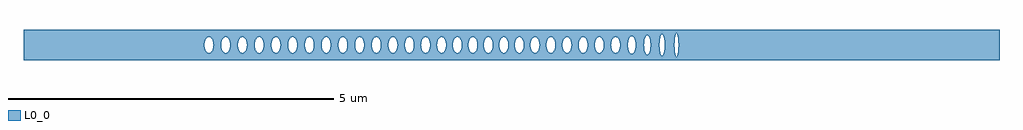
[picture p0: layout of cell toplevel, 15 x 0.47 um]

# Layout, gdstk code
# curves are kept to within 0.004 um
import gdstk
lib = gdstk.Library(unit=1e-6, precision=1e-09)
def P(c, l, *ps):  # polygons
    for p in ps: c.add(gdstk.Polygon(p, *l))
L0_0 = (0, 0)

toplevel = lib.new_cell('toplevel')
P(toplevel, L0_0, [(-4.205,0.016),(-4.187,0.085),(-4.187,0.235),(-7.5,0.235),(-7.5,-0.016),(-4.72,-0.016),(-4.717,0.038),(-4.707,0.073),(-4.684,0.109),(-4.654,0.124),(-4.628,0.118),(-4.599,0.085),(-4.584,0.046),(-4.58,-0.016),(-4.463,-0.016),(-4.46,0.038),(-4.45,0.073),(-4.427,0.109),(-4.397,0.124),(-4.371,0.118),(-4.344,0.09),(-4.327,0.046),(-4.322,0.008),(-4.324,-0.031),(-4.338,-0.079),(-4.359,-0.109),(-4.388,-0.124),(-4.414,-0.118),(-4.438,-0.096),(-4.45,-0.073),(-4.463,-0.016),(-4.58,-0.016),(-4.588,-0.06),(-4.605,-0.096),(-4.628,-0.118),(-4.645,-0.124),(-4.672,-0.118),(-4.695,-0.096),(-4.712,-0.06),(-4.72,-0.016),(-7.5,-0.016),(-7.5,-0.235),(-4.187,-0.235),(-4.187,-0.085),(-4.204,-0.031)],
  [(-4.18,0.096),(-4.157,0.118),(-4.14,0.124),(-4.122,0.122),(-4.101,0.109),(-4.074,0.06),(-4.065,-0.016),(-3.948,-0.016),(-3.942,0.053),(-3.923,0.096),(-3.9,0.118),(-3.865,0.122),(-3.84,0.105),(-3.821,0.073),(-3.807,0),(-3.812,-0.046),(-3.827,-0.085),(-3.844,-0.109),(-3.869,-0.123),(-3.9,-0.118),(-3.923,-0.096),(-3.94,-0.06),(-3.948,-0.016),(-4.065,-0.016),(-4.084,-0.085),(-4.101,-0.109),(-4.122,-0.122),(-4.14,-0.124),(-4.157,-0.118),(-4.187,-0.085),(-4.187,-0.235),(-3.599,-0.235),(-3.599,-0.118),(-3.625,-0.124),(-3.655,-0.109),(-3.678,-0.073),(-3.691,-0.016),(-3.688,0.038),(-3.666,0.096),(-3.634,0.122),(-3.616,0.124),(-3.599,0.118),(-3.599,0.235),(-4.187,0.235),(-4.187,0.085)],
  [(-3.551,-0.023),(-3.569,-0.085),(-3.599,-0.118),(-3.599,-0.235),(-3.039,-0.235),(-3.039,-0.041),(-3.049,-0.073),(-3.068,-0.105),(-3.088,-0.12),(-3.11,-0.124),(-3.128,-0.118),(-3.151,-0.096),(-3.168,-0.06),(-3.176,-0.016),(-3.173,0.038),(-3.163,0.073),(-3.144,0.105),(-3.119,0.122),(-3.093,0.122),(-3.068,0.105),(-3.049,0.073),(-3.039,0.038),(-3.039,0.235),(-3.599,0.235),(-3.599,0.118),(-3.566,0.079),(-3.552,0.031),(-3.55,-0.008),(-3.434,-0.008),(-3.432,0.031),(-3.418,0.079),(-3.397,0.109),(-3.368,0.124),(-3.342,0.118),(-3.318,0.096),(-3.296,0.038),(-3.293,-0.016),(-3.306,-0.073),(-3.329,-0.109),(-3.354,-0.123),(-3.377,-0.122),(-3.408,-0.096),(-3.425,-0.06),(-3.434,-0.008),(-3.55,-0.008)],
  [(-3.038,-0.031),(-3.039,-0.235),(-2.391,-0.235),(-2.391,-0.073),(-2.404,-0.016),(-2.4,0.046),(-2.391,0.073),(-2.391,0.235),(-3.039,0.235),(-3.036,-0.016),(-2.919,-0.016),(-2.916,0.038),(-2.906,0.073),(-2.883,0.109),(-2.853,0.124),(-2.827,0.118),(-2.797,0.085),(-2.783,0.046),(-2.778,-0.008),(-2.662,-0.008),(-2.657,0.046),(-2.64,0.09),(-2.613,0.118),(-2.582,0.123),(-2.546,0.096),(-2.534,0.073),(-2.521,0.016),(-2.524,-0.038),(-2.534,-0.073),(-2.557,-0.109),(-2.578,-0.122),(-2.605,-0.122),(-2.636,-0.096),(-2.653,-0.06),(-2.662,-0.008),(-2.778,-0.008),(-2.783,-0.046),(-2.797,-0.085),(-2.815,-0.109),(-2.844,-0.124),(-2.87,-0.118),(-2.894,-0.096),(-2.906,-0.073),(-2.919,-0.016),(-3.036,-0.016)],
  [(-2.382,0.09),(-2.356,0.118),(-2.321,0.122),(-2.296,0.105),(-2.277,0.073),(-2.268,0.046),(-2.264,0),(-2.148,0),(-2.143,0.046),(-2.122,0.096),(-2.095,0.12),(-2.064,0.122),(-2.039,0.105),(-2.02,0.073),(-2.01,0.038),(-2.007,-0.016),(-2.015,-0.06),(-2.032,-0.096),(-2.055,-0.118),(-2.082,-0.124),(-2.111,-0.109),(-2.128,-0.085),(-2.143,-0.046),(-2.148,0),(-2.264,0),(-2.268,-0.046),(-2.277,-0.073),(-2.289,-0.096),(-2.312,-0.118),(-2.33,-0.124),(-2.356,-0.118),(-2.372,-0.105),(-2.391,-0.073),(-2.391,-0.235),(-1.809,-0.235),(-1.809,-0.122),(-1.835,-0.122),(-1.86,-0.105),(-1.884,-0.06),(-1.892,-0.016),(-1.886,0.053),(-1.867,0.096),(-1.844,0.118),(-1.809,0.122),(-1.809,0.235),(-2.391,0.235),(-2.391,0.073)],
  [(-1.752,-0.016),(-1.77,-0.085),(-1.788,-0.109),(-1.809,-0.122),(-1.809,-0.235),(-1.261,-0.235),(-1.261,-0.067),(-1.275,-0.096),(-1.298,-0.118),(-1.316,-0.124),(-1.342,-0.118),(-1.365,-0.096),(-1.38,-0.066),(-1.391,0),(-1.38,0.066),(-1.365,0.096),(-1.342,0.118),(-1.325,0.124),(-1.298,0.118),(-1.275,0.096),(-1.261,0.066),(-1.261,0.235),(-1.809,0.235),(-1.809,0.122),(-1.788,0.109),(-1.77,0.085),(-1.756,0.046),(-1.751,-0.008),(-1.64,-0.008),(-1.635,0.046),(-1.624,0.079),(-1.603,0.109),(-1.574,0.124),(-1.556,0.122),(-1.531,0.105),(-1.505,0.053),(-1.499,-0.016),(-1.507,-0.06),(-1.531,-0.105),(-1.556,-0.122),(-1.587,-0.12),(-1.614,-0.096),(-1.631,-0.06),(-1.64,-0.008),(-1.751,-0.008)],
  [(-0.66,-0.235),(-0.66,0.235),(-1.261,0.235),(-1.261,0.066),(-1.252,0.031),(-1.25,-0.016),(-1.145,-0.016),(-1.142,0.038),(-1.132,0.073),(-1.109,0.109),(-1.079,0.124),(-1.053,0.118),(-1.023,0.085),(-1.006,0.031),(-1.005,-0.016),(-0.903,-0.016),(-0.9,0.038),(-0.89,0.073),(-0.867,0.109),(-0.837,0.124),(-0.811,0.118),(-0.784,0.09),(-0.767,0.046),(-0.762,0.008),(-0.764,-0.031),(-0.778,-0.079),(-0.799,-0.109),(-0.828,-0.124),(-0.854,-0.118),(-0.878,-0.096),(-0.89,-0.073),(-0.903,-0.016),(-1.005,-0.016),(-1.009,-0.046),(-1.026,-0.09),(-1.041,-0.109),(-1.07,-0.124),(-1.096,-0.118),(-1.12,-0.096),(-1.132,-0.073),(-1.145,-0.016),(-1.25,-0.016),(-1.261,-0.066),(-1.261,-0.235)],
  [(-0.655,0.06),(-0.627,0.109),(-0.607,0.122),(-0.58,0.122),(-0.556,0.105),(-0.536,0.073),(-0.525,0.031),(-0.524,-0.016),(-0.426,-0.016),(-0.423,0.038),(-0.407,0.085),(-0.378,0.118),(-0.351,0.124),(-0.322,0.109),(-0.304,0.085),(-0.29,0.046),(-0.285,0),(-0.29,-0.046),(-0.304,-0.085),(-0.322,-0.109),(-0.351,-0.124),(-0.378,-0.118),(-0.401,-0.096),(-0.418,-0.06),(-0.426,-0.016),(-0.524,-0.016),(-0.528,-0.046),(-0.545,-0.09),(-0.563,-0.112),(-0.589,-0.124),(-0.607,-0.122),(-0.631,-0.105),(-0.648,-0.079),(-0.66,-0.041),(-0.66,-0.235),(-0.145,-0.235),(-0.145,-0.115),(-0.164,-0.096),(-0.176,-0.073),(-0.189,-0.016),(-0.186,0.038),(-0.176,0.073),(-0.164,0.096),(-0.145,0.115),(-0.145,0.235),(-0.66,0.235),(-0.66,0.038)],
  [(-0.132,0.122),(-0.114,0.124),(-0.097,0.118),(-0.07,0.09),(-0.053,0.046),(-0.048,-0.008),(0.049,-0.008),(0.052,0.038),(0.071,0.09),(0.098,0.118),(0.115,0.124),(0.133,0.122),(0.157,0.105),(0.174,0.079),(0.188,0.031),(0.19,-0.008),(0.185,-0.046),(0.171,-0.085),(0.153,-0.109),(0.124,-0.124),(0.098,-0.118),(0.071,-0.09),(0.054,-0.046),(0.049,-0.008),(-0.048,-0.008),(-0.059,-0.066),(-0.081,-0.105),(-0.114,-0.124),(-0.145,-0.115),(-0.145,-0.235),(0.405,-0.235),(0.405,-0.096),(0.374,-0.122),(0.356,-0.124),(0.334,-0.115),(0.315,-0.096),(0.303,-0.073),(0.29,-0.016),(0.299,0.06),(0.326,0.109),(0.347,0.122),(0.365,0.124),(0.382,0.118),(0.405,0.096),(0.405,0.235),(-0.145,0.235),(-0.145,0.115)],
  [(0.783,0.016),(0.787,0.046),(0.804,0.09),(0.822,0.112),(0.848,0.124),(0.874,0.118),(0.897,0.096),(0.912,0.066),(0.922,0.023),(0.922,0.235),(0.405,0.235),(0.405,0.096),(0.426,0.046),(0.43,-0.016),(0.535,-0.016),(0.538,0.038),(0.548,0.073),(0.571,0.109),(0.601,0.124),(0.627,0.118),(0.65,0.096),(0.667,0.06),(0.675,0.016),(0.671,-0.046),(0.662,-0.073),(0.639,-0.109),(0.609,-0.124),(0.583,-0.118),(0.56,-0.096),(0.543,-0.06),(0.535,-0.016),(0.43,-0.016),(0.422,-0.06),(0.405,-0.096),(0.405,-0.235),(0.922,-0.235),(0.922,-0.026),(0.907,-0.079),(0.89,-0.105),(0.866,-0.122),(0.839,-0.122),(0.815,-0.105),(0.795,-0.073),(0.784,-0.031)],
  [(1.549,-0.235),(1.549,-0.085),(1.534,-0.046),(1.529,0),(1.534,0.046),(1.549,0.085),(1.549,0.235),(0.922,0.235),(0.923,-0.008),(1.03,-0.008),(1.035,0.046),(1.046,0.079),(1.067,0.109),(1.096,0.124),(1.123,0.118),(1.152,0.085),(1.168,0.038),(1.171,-0.016),(1.279,-0.016),(1.282,0.038),(1.292,0.073),(1.315,0.109),(1.345,0.124),(1.371,0.118),(1.394,0.096),(1.415,0.046),(1.42,0),(1.415,-0.046),(1.4,-0.085),(1.383,-0.109),(1.354,-0.124),(1.327,-0.118),(1.304,-0.096),(1.287,-0.06),(1.279,-0.016),(1.171,-0.016),(1.163,-0.06),(1.146,-0.096),(1.123,-0.118),(1.096,-0.124),(1.067,-0.109),(1.049,-0.085),(1.035,-0.046),(1.03,-0.008),(0.923,-0.008),(0.922,-0.235)],
  [(1.555,0.096),(1.578,0.118),(1.596,0.124),(1.613,0.122),(1.634,0.109),(1.662,0.06),(1.67,-0.009),(1.788,-0.009),(1.792,0.051),(1.804,0.095),(1.834,0.134),(1.86,0.136),(1.881,0.117),(1.898,0.081),(1.909,-0.017),(1.902,-0.067),(1.89,-0.101),(1.864,-0.134),(1.845,-0.138),(1.819,-0.121),(1.804,-0.095),(1.788,-0.009),(1.67,-0.009),(1.657,-0.073),(1.645,-0.096),(1.622,-0.118),(1.604,-0.124),(1.582,-0.12),(1.562,-0.105),(1.549,-0.085),(1.549,-0.235),(2.093,-0.235),(2.093,-0.151),(2.071,-0.145),(2.052,-0.111),(2.036,-0.01),(2.041,0.065),(2.052,0.111),(2.071,0.145),(2.093,0.151),(2.093,0.235),(1.549,0.235),(1.549,0.085)],
  [(2.136,-0.038),(2.122,-0.111),(2.106,-0.141),(2.093,-0.151),(2.093,-0.235),(7.5,-0.235),(7.5,0.235),(2.093,0.235),(2.093,0.151),(2.108,0.138),(2.126,0.097),(2.137,0.028),(2.137,-0.021),(2.274,-0.021),(2.283,0.106),(2.297,0.15),(2.312,0.166),(2.33,0.154),(2.343,0.121),(2.354,0.051),(2.355,-0.023),(2.505,-0.023),(2.511,0.106),(2.526,0.171),(2.534,0.18),(2.546,0.171),(2.56,0.115),(2.567,0.023),(2.565,-0.066),(2.553,-0.152),(2.538,-0.18),(2.526,-0.171),(2.516,-0.139),(2.505,-0.023),(2.355,-0.023),(2.343,-0.121),(2.33,-0.154),(2.317,-0.166),(2.302,-0.158),(2.289,-0.128),(2.274,-0.021),(2.137,-0.021)])

lib.write_gds('toplevel.gds')
